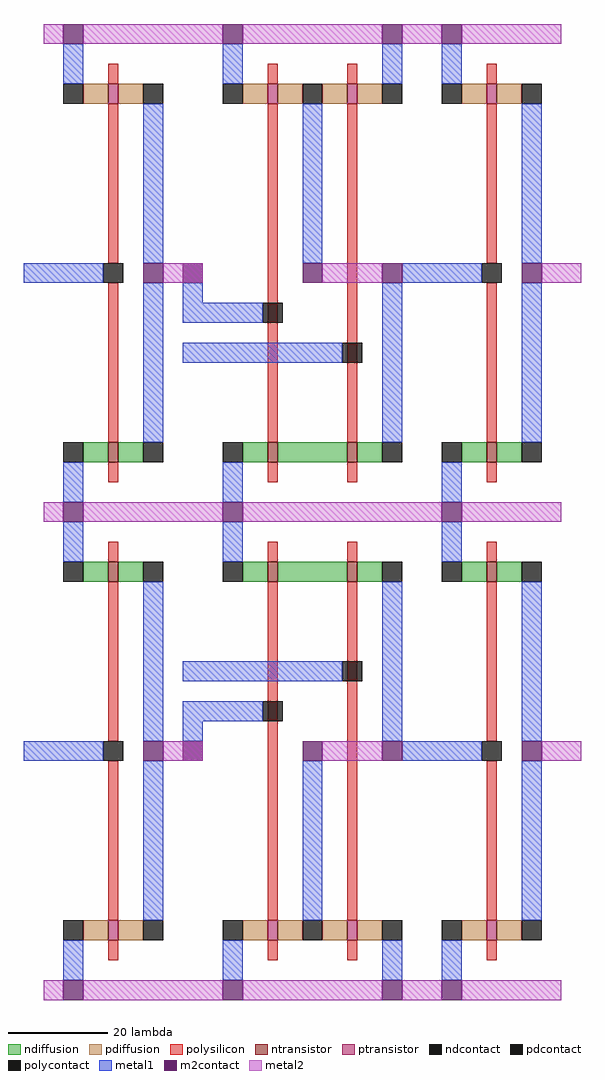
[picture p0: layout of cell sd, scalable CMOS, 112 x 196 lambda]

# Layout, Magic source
magic
tech scmos
<< metal1 >>
rect 0 40 4 48
rect 0 -44 4 -36
<< metal2 >>
rect 0 96 4 100
rect 0 0 4 4
rect 0 -96 4 -92
<< m2contact >>
rect 0 48 4 52
rect 0 -48 4 -44
use not  not_1
transform 1 0 -36 0 -1 -48
box 4 -52 40 48
use not  not_0
transform 1 0 -36 0 1 52
box 4 -52 40 48
use and  and_1
transform 1 0 12 0 -1 4
box -12 0 68 100
use and  and_0
transform 1 0 12 0 1 0
box -12 0 68 100
<< end >>

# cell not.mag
magic
tech scmos
<< polysilicon >>
rect 21 36 23 40
rect 21 0 23 32
rect 21 -36 23 -4
rect 21 -44 23 -40
<< ndiffusion >>
rect 16 -40 21 -36
rect 23 -40 28 -36
<< pdiffusion >>
rect 16 32 21 36
rect 23 32 28 36
<< metal1 >>
rect 12 36 16 44
rect 28 0 32 32
rect 4 -4 20 0
rect 28 -36 32 -4
rect 12 -48 16 -40
<< metal2 >>
rect 8 44 12 48
rect 16 44 36 48
rect 32 -4 40 0
rect 8 -52 12 -48
rect 16 -52 36 -48
<< ntransistor >>
rect 21 -40 23 -36
<< ptransistor >>
rect 21 32 23 36
<< polycontact >>
rect 20 -4 24 0
<< ndcontact >>
rect 12 -40 16 -36
rect 28 -40 32 -36
<< pdcontact >>
rect 12 32 16 36
rect 28 32 32 36
<< m2contact >>
rect 12 44 16 48
rect 28 -4 32 0
rect 12 -52 16 -48
<< end >>

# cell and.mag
magic
tech scmos
<< metal1 >>
rect -12 40 4 44
rect -12 32 20 36
<< metal2 >>
rect 20 96 24 100
<< polycontact >>
rect 48 48 52 52
rect 4 40 8 44
rect 20 32 24 36
use not  not_0
transform 1 0 28 0 1 52
box 4 -52 40 48
use nand  nand_0
transform 1 0 0 0 1 52
box -8 -52 36 48
<< end >>

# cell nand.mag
magic
tech scmos
<< polysilicon >>
rect 5 36 7 40
rect 21 36 23 40
rect 5 -36 7 32
rect 21 -36 23 32
rect 5 -44 7 -40
rect 21 -44 23 -40
<< ndiffusion >>
rect 0 -40 5 -36
rect 7 -40 21 -36
rect 23 -40 28 -36
<< pdiffusion >>
rect 0 32 5 36
rect 7 32 12 36
rect 16 32 21 36
rect 23 32 28 36
<< metal1 >>
rect -4 36 0 44
rect 28 36 32 44
rect 12 0 16 32
rect 28 -36 32 -4
rect -4 -48 0 -40
<< metal2 >>
rect -8 44 -4 48
rect 0 44 28 48
rect 32 44 36 48
rect 16 -4 28 0
rect -8 -52 -4 -48
rect 0 -52 36 -48
<< ntransistor >>
rect 5 -40 7 -36
rect 21 -40 23 -36
<< ptransistor >>
rect 5 32 7 36
rect 21 32 23 36
<< ndcontact >>
rect -4 -40 0 -36
rect 28 -40 32 -36
<< pdcontact >>
rect -4 32 0 36
rect 12 32 16 36
rect 28 32 32 36
<< m2contact >>
rect -4 44 0 48
rect 28 44 32 48
rect 12 -4 16 0
rect 28 -4 32 0
rect -4 -52 0 -48
<< end >>
